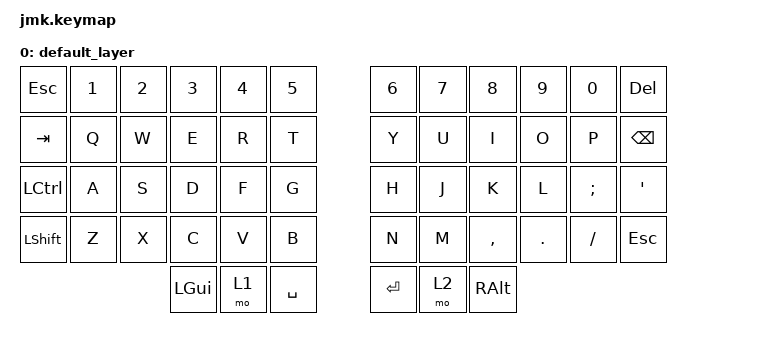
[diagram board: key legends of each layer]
#include <behaviors.dtsi>
#include <dt-bindings/zmk/keys.h>
#include <dt-bindings/zmk/bt.h>

/ {
        keymap {
                compatible = "zmk,keymap";

                default_layer {
// -----------------------------------------------------------------------------------------
// |  TAB |  Q  |  W  |  E  |  R  |  T  |   |  Y  |  U   |  I  |  O  |  P  | BSPC |
// | CTRL |  A  |  S  |  D  |  F  |  G  |   |  H  |  J   |  K  |  L  |  ;  |  '   |
// | SHFT |  Z  |  X  |  C  |  V  |  B  |   |  N  |  M   |  ,  |  .  |  /  | ESC  |
//                    | GUI | LWR | SPC |   | ENT | RSE  | ALT |
                        bindings = <
   &kp ESC   &kp N1 &kp N2 &kp N3 &kp N4 &kp N5  &kp N6 &kp N7  &kp N8     &kp N9   &kp N0    &kp DEL
   &kp TAB   &kp Q  &kp W  &kp E  &kp R  &kp T   &kp Y  &kp U   &kp I      &kp O    &kp P     &kp BSPC
   &kp LCTRL &kp A  &kp S  &kp D  &kp F  &kp G   &kp H  &kp J   &kp K      &kp L    &kp SEMI  &kp SQT
   &kp LSHFT &kp Z  &kp X  &kp C  &kp V  &kp B   &kp N  &kp M   &kp COMMA  &kp DOT  &kp FSLH  &kp ESC
                  &kp LGUI &mo 1  &kp    SPACE   &kp RET &mo 2  &kp RALT
                        >;
                };
			};
};
